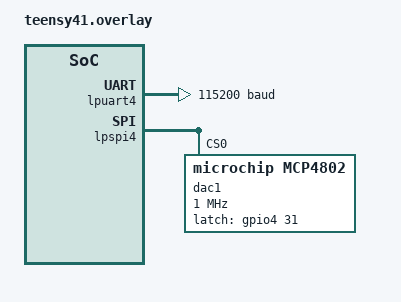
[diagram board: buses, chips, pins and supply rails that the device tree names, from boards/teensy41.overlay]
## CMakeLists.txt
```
# SPDX-License-Identifier: Apache-2.0

cmake_minimum_required(VERSION 3.20.0)
find_package(Zephyr REQUIRED HINTS $ENV{ZEPHYR_BASE})
project(dac_latch)

target_sources(app PRIVATE src/main.c)
```

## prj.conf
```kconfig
CONFIG_GPIO=y
CONFIG_DAC_MCP48XX=y
CONFIG_DAC=y
CONFIG_LOG=y
```

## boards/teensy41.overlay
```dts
/ {
   aliases {
            dac = &dac1;
   };

   chosen {
            zephyr,console = &lpuart4;
            zephyr,shell-uart = &lpuart4;
   };
};

&lpuart4 {
          status = "okay";
          current-speed = < 115200 >;
};

&lpspi4 {
         status = "okay";

         dac1: mcp4802@0 {
               compatible = "microchip,mcp4802";
               reg = <0>;
               #io-channel-cells = <1>;
               powerdown = <1 0>;
               gain = <1 1>;
               spi-max-frequency = <1000000>;
               status = "okay";
               latch-gpios = <&gpio4 31 (GPIO_PULL_UP | GPIO_ACTIVE_HIGH)>;
         };
};
```

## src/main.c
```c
/*
 * Copyright (c) 2024 Novatech LLC
 *
 * SPDX-License-Identifier: Apache-2.0
 */

#include <zephyr/kernel.h>
#include <zephyr/sys/printk.h>
#include <zephyr/drivers/dac.h>

#define SLEEP_TIME_MS	100

/*
 * Get dac configuration from the devicetree dac alias. This is mandatory.
 */
#define DAC_NODE	DT_ALIAS(dac)

#if !DT_NODE_HAS_STATUS(DAC_NODE, okay)
#error "Unsupported board; dac devicetree alias it not defined"
#endif

static const struct device *const dac_dev = DEVICE_DT_GET(DAC_NODE);

static const struct dac_channel_cfg dac_ch_cfg = {
	.channel_id = 0, // Values hard coded here instead of in overlay
	.resolution = 8,
	.buffered = false,
};

int main(void)
{
	int ret = 0;

	if (!device_is_ready(dac_dev)) {
		printk("DAC device %s is not ready\n", dac_dev->name);
		return 0;
	}
	
	ret = dac_channel_setup(dac_dev, &dac_ch_cfg);

	if (ret != 0) {
		printk("Setting up of DAC channel failed with code %d\n", ret);
		return 0;
	}

	int i = 0;

	while (1) {
		/* Update CH0 buffer */
        	ret = dac_update_value(dac_dev, 0, i);
        	if (ret != 0) {
                	printk("dac_update_value() failed with code %d\n", ret);
        	}
		/* Update CH1 buffer */
		ret = dac_update_value(dac_dev, 1, i);
		if (ret != 0) {
			printk("dac_update_value() failed with code %d\n", ret);
		}
                /* Apply buffer to hardware */
                ret = dac_write_value(dac_dev, DAC_WRITE_ALL_CH, NULL);
		if (ret != 0) {
			printk("dac_write_value() failed with code %d\n", ret);
		}
		if (ret == -EINVAL) {
			i = 0;
		}
		else {
			i = i + 1;
		}
		k_msleep(SLEEP_TIME_MS);
	}

	return 0;
}
```
